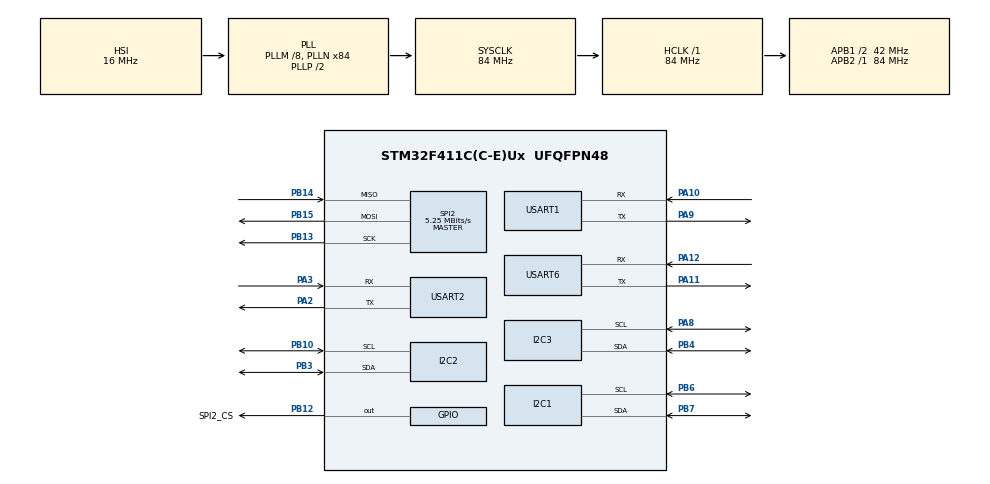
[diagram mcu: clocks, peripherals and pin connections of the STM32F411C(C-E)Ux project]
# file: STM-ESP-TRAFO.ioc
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FATFS._MAX_SS=4096
FATFS._USE_LFN=1
I2C1.I2C_Mode=I2C_Standard
Mcu.Family=STM32F4
Mcu.Name=STM32F411C(C-E)Ux
Mcu.Package=UFQFPN48
NVIC.PriorityGroup=NVIC_PRIORITYGROUP_4
PA10.Mode=Asynchronous
PA10.Signal=USART1_RX
PA11.Mode=Asynchronous
PA11.Signal=USART6_TX
PA12.Mode=Asynchronous
PA12.Signal=USART6_RX
PA13.Mode=Serial_Wire
PA13.Signal=SYS_JTMS-SWDIO
PA14.Mode=Serial_Wire
PA14.Signal=SYS_JTCK-SWCLK
PA2.Mode=Asynchronous
PA2.Signal=USART2_TX
PA3.Mode=Asynchronous
PA3.Signal=USART2_RX
PA8.GPIO_Pu=GPIO_PULLUP
PA8.Mode=I2C
PA8.Signal=I2C3_SCL
PA9.Mode=Asynchronous
PA9.Signal=USART1_TX
PB10.GPIO_Pu=GPIO_PULLUP
PB10.Mode=I2C
PB10.Signal=I2C2_SCL
PB12.GPIO_Label=SPI2_CS
PB12.PinState=GPIO_PIN_SET
PB12.Signal=GPIO_Output
PB13.Mode=Full_Duplex_Master
PB13.Signal=SPI2_SCK
PB14.Mode=Full_Duplex_Master
PB14.Signal=SPI2_MISO
PB15.Mode=Full_Duplex_Master
PB15.Signal=SPI2_MOSI
PB3.GPIO_Pu=GPIO_PULLUP
PB3.Mode=I2C
PB3.Signal=I2C2_SDA
PB4.GPIO_Pu=GPIO_PULLUP
PB4.Mode=I2C
PB4.Signal=I2C3_SDA
PB6.GPIO_Pu=GPIO_PULLUP
PB6.Mode=I2C
PB6.Signal=I2C1_SCL
PB7.GPIO_Pu=GPIO_PULLUP
PB7.Mode=I2C
PB7.Signal=I2C1_SDA
ProjectManager.HeapSize=0x200
ProjectManager.StackSize=0x400
ProjectManager.TargetToolchain=STM32CubeIDE
RCC.48MHZClocksFreq_Value=42000000
RCC.AHBFreq_Value=84000000
RCC.APB1CLKDivider=RCC_HCLK_DIV2
RCC.APB1Freq_Value=42000000
RCC.APB1TimFreq_Value=84000000
RCC.APB2Freq_Value=84000000
RCC.APB2TimFreq_Value=84000000
RCC.CortexFreq_Value=84000000
RCC.HCLKFreq_Value=84000000
RCC.HSE_VALUE=25000000
RCC.HSI_VALUE=16000000
RCC.LSE_VALUE=32768
RCC.PLLM=8
RCC.PLLN=84
RCC.SYSCLKFreq_VALUE=84000000
RCC.SYSCLKSource=RCC_SYSCLKSOURCE_PLLCLK
RCC.VCOOutputFreq_Value=168000000
SPI2.BaudRatePrescaler=SPI_BAUDRATEPRESCALER_8
SPI2.CalculateBaudRate=5.25 MBits/s
SPI2.Direction=SPI_DIRECTION_2LINES
SPI2.Mode=SPI_MODE_MASTER
SPI2.VirtualType=VM_MASTER
USART1.VirtualMode=VM_ASYNC
USART2.VirtualMode=VM_ASYNC
USART6.VirtualMode=VM_ASYNC
VP_FATFS_VS_Generic.Mode=User_defined
board=custom

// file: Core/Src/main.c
/* USER CODE BEGIN Header */
/**
  ******************************************************************************
  * @file           : main.c
  * @brief          : Main program body
  ******************************************************************************
  * @attention
  *
  * Copyright (c) 2026 STMicroelectronics.
  * All rights reserved.
  *
  * This software is licensed under terms that can be found in the LICENSE file
  * in the root directory of this software component.
  * If no LICENSE file comes with this software, it is provided AS-IS.
  *
  ******************************************************************************
  */
/* USER CODE END Header */
#include "main.h"
#include "fatfs.h"

/* USER CODE BEGIN Includes */
#include "PZEM_6L24.h"
#include "mlx90640_driver.h"
#include <stdio.h>
#include <string.h>
/* USER CODE END Includes */

/* USER CODE BEGIN PTD */
/* Struktur data 1 fasa */
typedef struct {
    float voltage;
    float current;
    float power;
    float frequency;
    float pf;
    float va;
    float var;
    float phi;
    float theta;
} PhaseData_t;

/* Struktur data listrik 3 fasa */
typedef struct {
    PhaseData_t phase[3];   /* indeks: 0 = A, 1 = B, 2 = C */
    uint16_t    faultCode;
} Electrical_t;

/* Struktur data RTC DS3231 */
typedef struct {
    uint8_t second;
    uint8_t minute;
    uint8_t hour;
    uint8_t day;      /* 1-7 */
    uint8_t date;     /* 1-31 */
    uint8_t month;    /* 1-12 */
    uint16_t year;    /* full year example 2026 */
} RTC_DS3231_t;

typedef struct
{
    FATFS fs;
    FIL file;
    FRESULT result;
    UINT bw;
    uint8_t mounted;

    /* Methods */
    uint8_t (*mount)(void *self);
    uint8_t (*createFile)(void *self, const char *filename);
    uint8_t (*append)(void *self, const char *filename, const char *text);

} SDCard_Class;
/* USER CODE END PTD */

/* USER CODE BEGIN PD */
#define VOLT_NOMINAL     220.0f
#define LTOL             0.10f   /* 10% undervolt */
#define HTOL             0.05f   /*  5% overvolt */
#define PZEM_CONN_RETRY  3U

#define DS3231_ADDRESS  (0x68 << 1)   /* Shifted for HAL */

/* USER CODE END PD */

I2C_HandleTypeDef hi2c1;
I2C_HandleTypeDef hi2c2;
I2C_HandleTypeDef hi2c3;

SPI_HandleTypeDef hspi2;

UART_HandleTypeDef huart1;
UART_HandleTypeDef huart2;
UART_HandleTypeDef huart6;

/* USER CODE BEGIN PV */

/* ----- MLX90640 ----- */
MLX90640_Device_t camera1;  /* Camera on I2C1 */
MLX90640_Device_t camera2;  /* Camera on I2C2 */

/* ----- Data terstruktur untuk debugging ----- */
volatile Electrical_t elecData;
/* ----- PZEM ----- */
PZEM6L24_t pzem;
static uint8_t connFailCount = 0U;

/* ----- RTC DS3131 ----- */
volatile RTC_DS3231_t  rtcData;

SDCard_Class sd;

/* ----- DEBUG STRUCT ----- */
typedef struct {
    uint8_t init_success;
    int32_t init_error_code;

    uint32_t frame_attempt_count;
    uint32_t frame_success_count;
    uint32_t frame_fail_count;

    int32_t last_getframe_result;
    int32_t last_calc_result;

    uint16_t i2c_status_reg;
    uint16_t i2c_ctrl_reg;

    uint8_t data_ready_flag;
    uint32_t timeout_counter;

} MLX_Debug_t;

volatile MLX_Debug_t mlx_debug;
/* USER CODE END PV */

void SystemClock_Config(void);
static void MX_GPIO_Init(void);
static void MX_I2C1_Init(void);
static void MX_I2C3_Init(void);
static void MX_USART1_UART_Init(void);
static void MX_USART2_UART_Init(void);
static void MX_USART6_UART_Init(void);
static void MX_SPI2_Init(void);
static void MX_I2C2_Init(void);
/* USER CODE BEGIN PFP */

static uint16_t CheckVoltageFault(float vA, float vB, float vC);
static void     UpdateFaultCode(uint16_t code);

static uint8_t BCD_To_Dec(uint8_t val);
static uint8_t Dec_To_BCD(uint8_t val);
static HAL_StatusTypeDef DS3231_GetTime(volatile RTC_DS3231_t *rtc);
static HAL_StatusTypeDef DS3231_SetTime(RTC_DS3231_t *rtc);

static uint8_t SD_mount(void *self);
static uint8_t SD_createFile(void *self, const char *filename);
static uint8_t SD_append(void *self, const char *filename, const char *text);

uint8_t Test_I2C_MLX90640(I2C_HandleTypeDef *hi2c, uint8_t addr);
/* USER CODE END PFP */

int main(void)
{

  /* MCU Configuration--------------------------------------------------------*/

  /* Reset of all peripherals, Initializes the Flash interface and the Systick. */
  HAL_Init();

  /* Configure the system clock */
  SystemClock_Config();

  /* Initialize all configured peripherals */
  MX_GPIO_Init();
  MX_I2C1_Init();
  MX_I2C3_Init();
  MX_USART1_UART_Init();
  MX_USART2_UART_Init();
  MX_USART6_UART_Init();
  MX_SPI2_Init();
  MX_FATFS_Init();
  MX_I2C2_Init();
  /* USER CODE BEGIN 2 */
  /* Clear debug struct */
  memset((void*)&mlx_debug, 0, sizeof(mlx_debug));

  HAL_GPIO_WritePin(GPIOB, GPIO_PIN_2, GPIO_PIN_SET);

  PZEM_Init(&pzem, &huart2, 0x01);

  /* ========================================================================== */
  /*          MANUAL I2C TEST - READ STATUS REGISTER (BOTH CAMERAS)            */
  /* ========================================================================== */

  HAL_Delay(200);  /* Wait for everything to stabilize */

  /* --- TEST CAMERA 1 (I2C1) --- */
  HAL_StatusTypeDef status1 = HAL_I2C_IsDeviceReady(&hi2c1, (0x33 << 1), 3, 100);
  uint8_t cam1_found = 0;

  if (status1 == HAL_OK) {
      uint8_t reg_data[2];
      if (HAL_I2C_Mem_Read(&hi2c1, (0x33 << 1), 0x8000,
                           I2C_MEMADD_SIZE_16BIT, reg_data, 2, 1000) == HAL_OK) {
          uint16_t status_reg = (reg_data[1] << 8) | reg_data[0];
          if (status_reg != 0x0000 && status_reg != 0xFFFF) {
              cam1_found = 1;
          }
      }
  }

  /* --- TEST CAMERA 2 (I2C2) --- */
  HAL_StatusTypeDef status2 = HAL_I2C_IsDeviceReady(&hi2c2, (0x33 << 1), 3, 100);
  uint8_t cam2_found = 0;

  if (status2 == HAL_OK) {
      uint8_t reg_data[2];
      if (HAL_I2C_Mem_Read(&hi2c2, (0x33 << 1), 0x8000,
                           I2C_MEMADD_SIZE_16BIT, reg_data, 2, 1000) == HAL_OK) {
          uint16_t status_reg = (reg_data[1] << 8) | reg_data[0];
          if (status_reg != 0x0000 && status_reg != 0xFFFF) {
              cam2_found = 1;
          }
      }
  }

  /* Set Debug Status based on findings */
  if (cam1_found && cam2_found) mlx_debug.init_success = 2; // Both OK
  else if (cam1_found || cam2_found) mlx_debug.init_success = 1; // One OK
  else mlx_debug.init_success = 0; // None OK

  /* Blink LED to show result */
  if (mlx_debug.init_success >= 1) {
      /* I2C OK - blink 2 times slow */
      for (int i = 0; i < 2; i++) {
          HAL_GPIO_WritePin(GPIOB, GPIO_PIN_2, GPIO_PIN_RESET);
          HAL_Delay(200);
          HAL_GPIO_WritePin(GPIOB, GPIO_PIN_2, GPIO_PIN_SET);
          HAL_Delay(200);
      }
  } else {
      /* I2C FAILED - blink 5 times fast */
      for (int i = 0; i < 5; i++) {
          HAL_GPIO_WritePin(GPIOB, GPIO_PIN_2, GPIO_PIN_RESET);
          HAL_Delay(50);
          HAL_GPIO_WritePin(GPIOB, GPIO_PIN_2, GPIO_PIN_SET);
          HAL_Delay(50);
      }
  }

  /* ========================================================================== */
  /*          NOW TRY MLX INIT (BOTH CAMERAS)                                  */
  /* ========================================================================== */

  /* Init Camera 1 */
  if (cam1_found) {
      MLX90640_Status_t cam1_status = MLX90640_Init(&camera1, &hi2c1, 0x33);
      if (cam1_status == MLX90640_OK) {
          MLX90640_SetMode(&camera1, MLX90640_MODE_CHESS);
          MLX90640_SetRefreshRate(&camera1, MLX90640_REFRESH_4_HZ);
      }
  }

  /* Init Camera 2 */
  if (cam2_found) {
      MLX90640_Status_t cam2_status = MLX90640_Init(&camera2, &hi2c2, 0x33);
      if (cam2_status == MLX90640_OK) {
          MLX90640_SetMode(&camera2, MLX90640_MODE_CHESS);
          MLX90640_SetRefreshRate(&camera2, MLX90640_REFRESH_4_HZ);
          mlx_debug.init_success = 3;  /* 3 = Full init OK (at least one) */
      }
  }

  HAL_Delay(500);

  memset((void*)&elecData, 0, sizeof(elecData));

  /* RTC Setup */
  rtcData.second = 0;
  rtcData.minute = 29;
  rtcData.hour = 16;
  rtcData.day = 7;
  rtcData.date = 7;
  rtcData.month = 6;
  rtcData.year = 2026;

  /* Uncomment to set RTC time (only once) */
//   DS3231_SetTime((RTC_DS3231_t*)&rtcData);

  /* SD Card initialization */
  sd.mount = SD_mount;
  sd.createFile = SD_createFile;
  sd.append = SD_append;

  if (sd.mount(&sd)) {
      sd.createFile(&sd, "LOG.CSV");
  }

  /* USER CODE END 2 */

  /* Infinite loop */
  /* USER CODE BEGIN WHILE */
  while (1)
  {
	    static uint32_t alive = 0;
	    alive++;

	    /* ======================================================================== */
	    /*                       READ PZEM (UNCHANGED)                              */
	    /* ======================================================================== */

	    if (pzem.state == PZEM_STATE_FAULT || pzem.state == PZEM_STATE_ERROR) {
	        HAL_UART_Abort(pzem.huart);
	        pzem.state = PZEM_STATE_IDLE;
	    }

	    if (PZEM_IT_RequestAll(&pzem) == HAL_OK) {
	        uint32_t t0 = HAL_GetTick();
	        while (pzem.state == PZEM_STATE_TX || pzem.state == PZEM_STATE_RX) {
	            if (HAL_GetTick() - t0 > 2000U) {
	                HAL_UART_Abort(pzem.huart);
	                pzem.state = PZEM_STATE_ERROR;
	                break;
	            }
	        }

	        if (pzem.state == PZEM_STATE_COMPLETE) {
	            if (PZEM_IT_ProcessData(&pzem) == HAL_OK) {
	                for (int i = 0; i < 3; i++) {
	                    elecData.phase[i].voltage = pzem.voltage[i];
	                    elecData.phase[i].current = pzem.current[i];
	                    elecData.phase[i].power = pzem.power[i];
	                    elecData.phase[i].frequency = pzem.frequency[i];
	                    elecData.phase[i].pf = pzem.pf[i];
	                    elecData.phase[i].va = pzem.va[i];
	                    elecData.phase[i].var = pzem.var[i];
	                    elecData.phase[i].phi = pzem.phi[i];
	                    elecData.phase[i].theta = pzem.theta[i];
	                }

	                connFailCount = 0U;
	                HAL_GPIO_WritePin(GPIOB, GPIO_PIN_2, GPIO_PIN_RESET);

	                elecData.faultCode = CheckVoltageFault(
	                    elecData.phase[0].voltage,
	                    elecData.phase[1].voltage,
	                    elecData.phase[2].voltage
	                );
	                UpdateFaultCode(elecData.faultCode);
	            }
	        } else {
	            HAL_UART_Abort(pzem.huart);
	            pzem.state = PZEM_STATE_IDLE;

	            if (connFailCount < PZEM_CONN_RETRY)
	                connFailCount++;

	            if (connFailCount >= PZEM_CONN_RETRY) {
	                elecData.faultCode = 404U;
	                UpdateFaultCode(404U);
	                HAL_GPIO_WritePin(GPIOB, GPIO_PIN_2, GPIO_PIN_SET);
	            }
	        }
	    } else {
	        HAL_UART_Abort(pzem.huart);
	        pzem.state = PZEM_STATE_IDLE;
	    }

	    /* ======================================================================== */
	    /*   READ BOTH CAMERAS                                                      */
	    /* ======================================================================== */

	    static uint32_t last_mlx_read = 0;

	    if ((HAL_GetTick() - last_mlx_read) >= 250) {
	        last_mlx_read = HAL_GetTick();
	        mlx_debug.frame_attempt_count++;

	        /* --- Camera 1 (I2C1) --- */
	        if (camera1.is_initialized) {
	            if (hi2c1.ErrorCode != HAL_I2C_ERROR_NONE) {
	                hi2c1.ErrorCode = HAL_I2C_ERROR_NONE;
	            }
	            int result1 = MLX90640_GetFrameData(&camera1);
	            if (result1 >= 0) {
	                mlx_debug.frame_success_count++;
	                MLX90640_CalculateTemperatures(&camera1, 0.95f, camera1.ambient_temp);
	                mlx_debug.last_calc_result = 0;
	            } else {
	                mlx_debug.frame_fail_count++;
	            }
	        }

	        /* --- Camera 2 (I2C2) --- */
	        if (camera2.is_initialized) {
	            if (hi2c2.ErrorCode != HAL_I2C_ERROR_NONE) {
	                hi2c2.ErrorCode = HAL_I2C_ERROR_NONE;
	            }
	            int result2 = MLX90640_GetFrameData(&camera2);
	            if (result2 >= 0) {
	                mlx_debug.frame_success_count++;
	                MLX90640_CalculateTemperatures(&camera2, 0.95f, camera2.ambient_temp);
	                mlx_debug.last_calc_result = 0;
	            } else {
	                mlx_debug.frame_fail_count++;
	            }
	        }
	    }

	    /* ======================================================================== */
	    /*                          READ RTC                                        */
	    /* ======================================================================== */

	    DS3231_GetTime(&rtcData);

	    /* ======================================================================== */
	    /*                   ENHANCED SD CARD LOGGING (UPDATED)                     */
	    /* ======================================================================== */

	    static uint32_t lastLog = 0;

	    if (HAL_GetTick() - lastLog > 5000) {  // Log setiap 5 detik
	        lastLog = HAL_GetTick();

	        char line[512];  // Buffer lebih besar untuk semua data

	        sprintf(line,
	            // --- Timestamp ---
	            "%02d/%02d/%04d,%02d:%02d:%02d,"

	            // --- Phase A (9 parameters) ---
	            "%.2f,%.3f,%.2f,%.2f,%.3f,%.2f,%.2f,%.2f,%.2f,"

	            // --- Phase B (9 parameters) ---
	            "%.2f,%.3f,%.2f,%.2f,%.3f,%.2f,%.2f,%.2f,%.2f,"

	            // --- Phase C (9 parameters) ---
	            "%.2f,%.3f,%.2f,%.2f,%.3f,%.2f,%.2f,%.2f,%.2f,"

	            // --- Camera 1 (4 parameters) ---
	            "%.2f,%.2f,%.2f,%.2f,"

	            // --- Camera 2 (4 parameters) ---
	            "%.2f,%.2f,%.2f,%.2f,"

	            // --- System Status (3 parameters) ---
	            "%u,%u,%u"

	            "\r\n",

	            // --- Timestamp ---
	            rtcData.date, rtcData.month, rtcData.year,
	            rtcData.hour, rtcData.minute, rtcData.second,

	            // --- Phase A ---
	            elecData.phase[0].voltage,
	            elecData.phase[0].current,
	            elecData.phase[0].power,
	            elecData.phase[0].frequency,
	            elecData.phase[0].pf,
	            elecData.phase[0].va,
	            elecData.phase[0].var,
	            elecData.phase[0].phi,
	            elecData.phase[0].theta,

	            // --- Phase B ---
	            elecData.phase[1].voltage,
	            elecData.phase[1].current,
	            elecData.phase[1].power,
	            elecData.phase[1].frequency,
	            elecData.phase[1].pf,
	            elecData.phase[1].va,
	            elecData.phase[1].var,
	            elecData.phase[1].phi,
	            elecData.phase[1].theta,

	            // --- Phase C ---
	            elecData.phase[2].voltage,
	            elecData.phase[2].current,
	            elecData.phase[2].power,
	            elecData.phase[2].frequency,
	            elecData.phase[2].pf,
	            elecData.phase[2].va,
	            elecData.phase[2].var,
	            elecData.phase[2].phi,
	            elecData.phase[2].theta,

	            // --- Camera 1 ---
	            camera1.is_initialized ? camera1.avg_temp : 0.0f,
	            camera1.is_initialized ? camera1.max_temp : 0.0f,
	            camera1.is_initialized ? camera1.min_temp : 0.0f,
	            camera1.is_initialized ? camera1.ambient_temp : 0.0f,

	            // --- Camera 2 ---
	            camera2.is_initialized ? camera2.avg_temp : 0.0f,
	            camera2.is_initialized ? camera2.max_temp : 0.0f,
	            camera2.is_initialized ? camera2.min_temp : 0.0f,
	            camera2.is_initialized ? camera2.ambient_temp : 0.0f,

	            // --- System Status ---
	            elecData.faultCode,
	            mlx_debug.frame_success_count,
	            mlx_debug.frame_fail_count
	        );

	        sd.append(&sd, "LOG.CSV", line);
	    }

	    HAL_Delay(100);
    /* USER CODE END WHILE */

  }
}

void SystemClock_Config(void)
{
  RCC_OscInitTypeDef RCC_OscInitStruct = {0};
  RCC_ClkInitTypeDef RCC_ClkInitStruct = {0};

  /** Configure the main internal regulator output voltage
  */
  __HAL_RCC_PWR_CLK_ENABLE();
  __HAL_PWR_VOLTAGESCALING_CONFIG(PWR_REGULATOR_VOLTAGE_SCALE1);

  /** Initializes the RCC Oscillators according to the specified parameters
  * in the RCC_OscInitTypeDef structure.
  */
  RCC_OscInitStruct.OscillatorType = RCC_OSCILLATORTYPE_HSI;
  RCC_OscInitStruct.HSIState = RCC_HSI_ON;
  RCC_OscInitStruct.HSICalibrationValue = RCC_HSICALIBRATION_DEFAULT;
  RCC_OscInitStruct.PLL.PLLState = RCC_PLL_ON;
  RCC_OscInitStruct.PLL.PLLSource = RCC_PLLSOURCE_HSI;
  RCC_OscInitStruct.PLL.PLLM = 8;
  RCC_OscInitStruct.PLL.PLLN = 84;
  RCC_OscInitStruct.PLL.PLLP = RCC_PLLP_DIV2;
  RCC_OscInitStruct.PLL.PLLQ = 4;
  if (HAL_RCC_OscConfig(&RCC_OscInitStruct) != HAL_OK)
  {
    Error_Handler();
  }

  /** Initializes the CPU, AHB and APB buses clocks
  */
  RCC_ClkInitStruct.ClockType = RCC_CLOCKTYPE_HCLK|RCC_CLOCKTYPE_SYSCLK
                              |RCC_CLOCKTYPE_PCLK1|RCC_CLOCKTYPE_PCLK2;
  RCC_ClkInitStruct.SYSCLKSource = RCC_SYSCLKSOURCE_PLLCLK;
  RCC_ClkInitStruct.AHBCLKDivider = RCC_SYSCLK_DIV1;
  RCC_ClkInitStruct.APB1CLKDivider = RCC_HCLK_DIV2;
  RCC_ClkInitStruct.APB2CLKDivider = RCC_HCLK_DIV1;

  if (HAL_RCC_ClockConfig(&RCC_ClkInitStruct, FLASH_LATENCY_2) != HAL_OK)
  {
    Error_Handler();
  }
}

static void MX_I2C1_Init(void)
{

  hi2c1.Instance = I2C1;
  hi2c1.Init.ClockSpeed = 100000;
  hi2c1.Init.DutyCycle = I2C_DUTYCYCLE_2;
  hi2c1.Init.OwnAddress1 = 0;
  hi2c1.Init.AddressingMode = I2C_ADDRESSINGMODE_7BIT;
  hi2c1.Init.DualAddressMode = I2C_DUALADDRESS_DISABLE;
  hi2c1.Init.OwnAddress2 = 0;
  hi2c1.Init.GeneralCallMode = I2C_GENERALCALL_DISABLE;
  hi2c1.Init.NoStretchMode = I2C_NOSTRETCH_DISABLE;
  if (HAL_I2C_Init(&hi2c1) != HAL_OK)
  {
    Error_Handler();
  }

}

static void MX_I2C2_Init(void)
{

  hi2c2.Instance = I2C2;
  hi2c2.Init.ClockSpeed = 100000;
  hi2c2.Init.DutyCycle = I2C_DUTYCYCLE_2;
  hi2c2.Init.OwnAddress1 = 0;
  hi2c2.Init.AddressingMode = I2C_ADDRESSINGMODE_7BIT;
  hi2c2.Init.DualAddressMode = I2C_DUALADDRESS_DISABLE;
  hi2c2.Init.OwnAddress2 = 0;
  hi2c2.Init.GeneralCallMode = I2C_GENERALCALL_DISABLE;
  hi2c2.Init.NoStretchMode = I2C_NOSTRETCH_DISABLE;
  if (HAL_I2C_Init(&hi2c2) != HAL_OK)
  {
    Error_Handler();
  }

}

static void MX_I2C3_Init(void)
{

  hi2c3.Instance = I2C3;
  hi2c3.Init.ClockSpeed = 100000;
  hi2c3.Init.DutyCycle = I2C_DUTYCYCLE_2;
  hi2c3.Init.OwnAddress1 = 0;
  hi2c3.Init.AddressingMode = I2C_ADDRESSINGMODE_7BIT;
  hi2c3.Init.DualAddressMode = I2C_DUALADDRESS_DISABLE;
  hi2c3.Init.OwnAddress2 = 0;
  hi2c3.Init.GeneralCallMode = I2C_GENERALCALL_DISABLE;
  hi2c3.Init.NoStretchMode = I2C_NOSTRETCH_DISABLE;
  if (HAL_I2C_Init(&hi2c3) != HAL_OK)
  {
    Error_Handler();
  }

}

static void MX_SPI2_Init(void)
{

  /* SPI2 parameter configuration*/
  hspi2.Instance = SPI2;
  hspi2.Init.Mode = SPI_MODE_MASTER;
  hspi2.Init.Direction = SPI_DIRECTION_2LINES;
  hspi2.Init.DataSize = SPI_DATASIZE_8BIT;
  hspi2.Init.CLKPolarity = SPI_POLARITY_LOW;
  hspi2.Init.CLKPhase = SPI_PHASE_1EDGE;
  hspi2.Init.NSS = SPI_NSS_SOFT;
  hspi2.Init.BaudRatePrescaler = SPI_BAUDRATEPRESCALER_8;
  hspi2.Init.FirstBit = SPI_FIRSTBIT_MSB;
  hspi2.Init.TIMode = SPI_TIMODE_DISABLE;
  hspi2.Init.CRCCalculation = SPI_CRCCALCULATION_DISABLE;
  hspi2.Init.CRCPolynomial = 10;
  if (HAL_SPI_Init(&hspi2) != HAL_OK)
  {
    Error_Handler();
  }

}

static void MX_USART1_UART_Init(void)
{

  huart1.Instance = USART1;
  huart1.Init.BaudRate = 115200;
  huart1.Init.WordLength = UART_WORDLENGTH_8B;
  huart1.Init.StopBits = UART_STOPBITS_1;
  huart1.Init.Parity = UART_PARITY_NONE;
  huart1.Init.Mode = UART_MODE_TX_RX;
  huart1.Init.HwFlowCtl = UART_HWCONTROL_NONE;
  huart1.Init.OverSampling = UART_OVERSAMPLING_16;
  if (HAL_UART_Init(&huart1) != HAL_OK)
  {
    Error_Handler();
  }

}

static void MX_USART2_UART_Init(void)
{

  huart2.Instance = USART2;
  huart2.Init.BaudRate = 115200;
  huart2.Init.WordLength = UART_WORDLENGTH_8B;
  huart2.Init.StopBits = UART_STOPBITS_1;
  huart2.Init.Parity = UART_PARITY_NONE;
  huart2.Init.Mode = UART_MODE_TX_RX;
  huart2.Init.HwFlowCtl = UART_HWCONTROL_NONE;
  huart2.Init.OverSampling = UART_OVERSAMPLING_16;
  if (HAL_UART_Init(&huart2) != HAL_OK)
  {
    Error_Handler();
  }

}

static void MX_USART6_UART_Init(void)
{

  huart6.Instance = USART6;
  huart6.Init.BaudRate = 115200;
  huart6.Init.WordLength = UART_WORDLENGTH_8B;
  huart6.Init.StopBits = UART_STOPBITS_1;
  huart6.Init.Parity = UART_PARITY_NONE;
  huart6.Init.Mode = UART_MODE_TX_RX;
  huart6.Init.HwFlowCtl = UART_HWCONTROL_NONE;
  huart6.Init.OverSampling = UART_OVERSAMPLING_16;
  if (HAL_UART_Init(&huart6) != HAL_OK)
  {
    Error_Handler();
  }

}

static void MX_GPIO_Init(void)
{
  GPIO_InitTypeDef GPIO_InitStruct = {0};

  /* GPIO Ports Clock Enable */
  __HAL_RCC_GPIOA_CLK_ENABLE();
  __HAL_RCC_GPIOB_CLK_ENABLE();

  /*Configure GPIO pin Output Level */
  HAL_GPIO_WritePin(SPI2_CS_GPIO_Port, SPI2_CS_Pin, GPIO_PIN_SET);

  /*Configure GPIO pin : SPI2_CS_Pin */
  GPIO_InitStruct.Pin = SPI2_CS_Pin;
  GPIO_InitStruct.Mode = GPIO_MODE_OUTPUT_PP;
  GPIO_InitStruct.Pull = GPIO_NOPULL;
  GPIO_InitStruct.Speed = GPIO_SPEED_FREQ_LOW;
  HAL_GPIO_Init(SPI2_CS_GPIO_Port, &GPIO_InitStruct);

}

/* USER CODE BEGIN 4 */

/* ============================================================================ */
/*                     UART CALLBACKS (UNCHANGED)                               */
/* ============================================================================ */

void HAL_UART_TxCpltCallback(UART_HandleTypeDef *huart)
{
    if (huart->Instance == USART2) {
        PZEM_IT_TxCpltCallback(&pzem);
    }
}

void HAL_UART_RxCpltCallback(UART_HandleTypeDef *huart)
{
    if (huart->Instance == USART2) {
        PZEM_IT_RxCpltCallback(&pzem);
    }
}

/* ============================================================================ */
/*                     DS3231 RTC FUNCTIONS (UNCHANGED)                         */
/* ============================================================================ */

static uint8_t BCD_To_Dec(uint8_t val)
{
    return (val >> 4) * 10 + (val & 0x0F);
}

static uint8_t Dec_To_BCD(uint8_t val)
{
    return ((val / 10) << 4) | (val % 10);
}

static HAL_StatusTypeDef DS3231_GetTime(volatile RTC_DS3231_t *rtc)
{
    uint8_t buffer[7];

    if (HAL_I2C_Mem_Read(&hi2c3, DS3231_ADDRESS, 0x00, I2C_MEMADD_SIZE_8BIT,
                         buffer, 7, HAL_MAX_DELAY) != HAL_OK)
        return HAL_ERROR;

    rtc->second = BCD_To_Dec(buffer[0]);
    rtc->minute = BCD_To_Dec(buffer[1]);
    rtc->hour = BCD_To_Dec(buffer[2] & 0x3F);
    rtc->day = BCD_To_Dec(buffer[3]);
    rtc->date = BCD_To_Dec(buffer[4]);
    rtc->month = BCD_To_Dec(buffer[5] & 0x1F);
    rtc->year = 2000 + BCD_To_Dec(buffer[6]);

    return HAL_OK;
}

static HAL_StatusTypeDef DS3231_SetTime(RTC_DS3231_t *rtc)
{
    uint8_t buffer[7];

    buffer[0] = Dec_To_BCD(rtc->second);
    buffer[1] = Dec_To_BCD(rtc->minute);
    buffer[2] = Dec_To_BCD(rtc->hour);
    buffer[3] = Dec_To_BCD(rtc->day);
    buffer[4] = Dec_To_BCD(rtc->date);
    buffer[5] = Dec_To_BCD(rtc->month);
    buffer[6] = Dec_To_BCD(rtc->year - 2000);

    return HAL_I2C_Mem_Write(&hi2c3, DS3231_ADDRESS, 0x00, I2C_MEMADD_SIZE_8BIT,
                             buffer, 7, HAL_MAX_DELAY);
}

/* ============================================================================ */
/*                     SD CARD FUNCTIONS (UNCHANGED)                            */
/* ============================================================================ */

static uint8_t SD_mount(void *self)
{
    SDCard_Class *sd = (SDCard_Class*)self;
    if (f_mount(&sd->fs, "", 1) == FR_OK) {
        sd->mounted = 1;
        return 1;
    }
    sd->mounted = 0;
    return 0;
}

static uint8_t SD_createFile(void *self, const char *filename)
{
    SDCard_Class *sd = (SDCard_Class*)self;
    if (!sd->mounted) return 0;

    sd->result = f_open(&sd->file, filename, FA_OPEN_ALWAYS | FA_WRITE);
    if (sd->result == FR_OK) {
        f_lseek(&sd->file, f_size(&sd->file));
        if (f_size(&sd->file) == 0) {
            char header[] =
                "Date,Time,"

                // Phase A
                "VA_Volt,VA_Curr,VA_Pow,VA_Freq,VA_PF,VA_VA,VA_VAR,VA_Phi,VA_Theta,"

                // Phase B
                "VB_Volt,VB_Curr,VB_Pow,VB_Freq,VB_PF,VB_VA,VB_VAR,VB_Phi,VB_Theta,"

                // Phase C
                "VC_Volt,VC_Curr,VC_Pow,VC_Freq,VC_PF,VC_VA,VC_VAR,VC_Phi,VC_Theta,"

                // Camera 1
                "Cam1_Avg,Cam1_Max,Cam1_Min,Cam1_Ambient,"

                // Camera 2
                "Cam2_Avg,Cam2_Max,Cam2_Min,Cam2_Ambient,"

                // System
                "FaultCode,MLX_Success,MLX_Fail"

                "\r\n";

            f_write(&sd->file, header, strlen(header), &sd->bw);
        }
        f_close(&sd->file);
        return 1;
    }
    return 0;
}

static uint8_t SD_append(void *self, const char *filename, const char *text)
{
    SDCard_Class *sd = (SDCard_Class*)self;
    if (!sd->mounted) return 0;

    if (f_open(&sd->file, filename, FA_OPEN_APPEND | FA_WRITE) == FR_OK) {
        f_write(&sd->file, text, strlen(text), &sd->bw);
        f_close(&sd->file);
        return 1;
    }
    return 0;
}

/**
 * @brief Test basic I2C communication with MLX90640
 * @return 1 if OK, 0 if failed
 */
uint8_t Test_I2C_MLX90640(I2C_HandleTypeDef *hi2c, uint8_t addr)
{
    /* Test 1: Device Ready Check */
    HAL_StatusTypeDef status = HAL_I2C_IsDeviceReady(hi2c, (addr << 1), 3, 100);

    if (status != HAL_OK) {
        /* Device not responding */
        return 0;
    }

    /* Test 2: Try to read status register */
    uint16_t test_data = 0;
    uint8_t buffer[2];

    status = HAL_I2C_Mem_Read(
        hi2c,
        (addr << 1),
        0x8000,  /* Status register */
        I2C_MEMADD_SIZE_16BIT,
        buffer,
        2,
        1000
    );

    if (status != HAL_OK) {
        /* Cannot read register */
        return 0;
    }

    /* Byte swap */
    test_data = (buffer[1] << 8) | buffer[0];

    /* Status register should have reasonable value (not 0x0000 or 0xFFFF) */
    if (test_data == 0x0000 || test_data == 0xFFFF) {
        return 0;
    }

    return 1;  /* Success */
}

/* ============================================================================ */
/*                     FAULT HANDLING (UNCHANGED)                               */
/* ============================================================================ */

static uint16_t CheckVoltageFault(float vA, float vB, float vC)
{
    const float vLow = VOLT_NOMINAL * (1.0f - LTOL);
    const float vHigh = VOLT_NOMINAL * (1.0f + HTOL);

    if (vA > vHigh) return 4U;
    if (vB > vHigh) return 5U;
    if (vC > vHigh) return 6U;

    if (vA < vLow) return 1U;
    if (vB < vLow) return 2U;
    if (vC < vLow) return 3U;

    return 0U;
}

static void UpdateFaultCode(uint16_t code)
{
    (void)code;
}

void FaultCode(uint16_t code)
{
    switch (code) {
        case 0U:   /* No fault */ break;
        case 1U:   /* Undervoltage Phase A */ break;
        case 2U:   /* Undervoltage Phase B */ break;
        case 3U:   /* Undervoltage Phase C */ break;
        case 4U:   /* Overvoltage Phase A */ break;
        case 5U:   /* Overvoltage Phase B */ break;
        case 6U:   /* Overvoltage Phase C */ break;
        case 404U: /* PZEM connection lost */ break;
        default: break;
    }
}

/* USER CODE END 4 */

void Error_Handler(void)
{
  __disable_irq();
  while (1)
  {
  }
}
